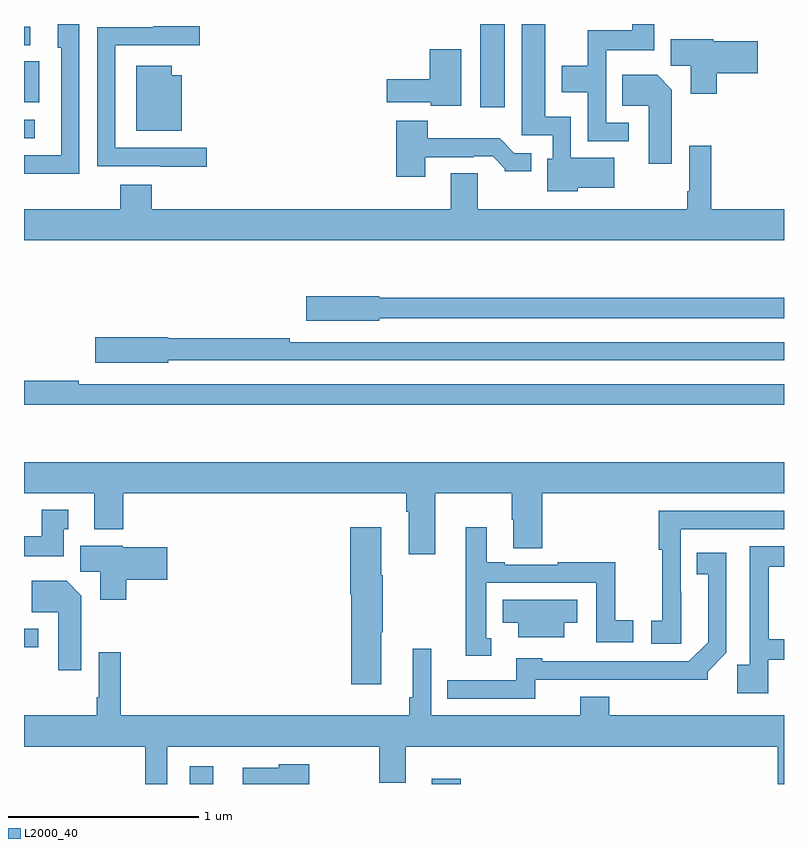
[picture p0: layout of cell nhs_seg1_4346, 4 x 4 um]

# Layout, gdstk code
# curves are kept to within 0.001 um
import gdstk
lib = gdstk.Library(unit=1e-6, precision=1e-09)
def R(c, l, rs):  # rectangles x0, y0, x1, y1
    for r in rs: c.add(gdstk.rectangle(r[:2], r[2:], *l))
def P(c, l, *ps):  # polygons
    for p in ps: c.add(gdstk.Polygon(p, *l))
L2000_40 = (2000, 40)

nhs_seg1_4346 = lib.new_cell('nhs_seg1_4346')
R(nhs_seg1_4346, L2000_40, [(347.873,554.199,347.995,554.293), (349.145,554.199,349.298,554.227), (347,554.919,347.074,555.015), (347,557.598,347.056,557.694), (349.4,557.76,349.531,558.199), (347,557.786,347.08,558.002), (347,558.087,347.032,558.185), (348.959,558.198,349.111,558.199)])
P(nhs_seg1_4346, L2000_40, [(347.292,558.199),(347.177,558.199),(347.177,558.075),(347.196,558.075),(347.196,557.508),(347,557.508),(347,557.411),(347.292,557.411)],
  [(349.914,557.336),(350.107,557.336),(350.107,557.494),(349.878,557.494),(349.878,557.71),(349.744,557.71),(349.744,558.199),(349.619,558.199),(349.619,557.613),(349.782,557.613),(349.782,557.49),(349.754,557.49),(349.754,557.318),(349.914,557.318)],
  [(350.182,557.679),(350.064,557.679),(350.064,558.062),(350.317,558.062),(350.317,558.199),(350.201,558.199),(350.201,558.166),(349.966,558.166),(349.966,557.98),(349.829,557.98),(349.829,557.84),(349.968,557.84),(349.968,557.583),(350.182,557.583)],
  [(347.962,557.547),(347.481,557.547),(347.481,558.087),(347.926,558.087),(347.926,558.187),(347.681,558.187),(347.681,558.183),(347.385,558.183),(347.385,557.451),(347.717,557.451),(347.717,557.447),(347.962,557.447)],
  [(350.645,557.939),(350.863,557.939),(350.863,558.109),(350.628,558.109),(350.628,558.118),(350.405,558.118),(350.405,557.98),(350.51,557.98),(350.51,557.832),(350.645,557.832)],
  [(349.3,558.067),(349.136,558.067),(349.136,557.908),(348.909,557.908),(348.909,557.786),(349.14,557.786),(349.14,557.768),(349.3,557.768)],
  [(347.83,557.929),(347.777,557.929),(347.777,557.98),(347.591,557.98),(347.591,557.636),(347.83,557.636)],
  [(350.41,557.854),(350.332,557.932),(350.149,557.932),(350.149,557.768),(350.288,557.768),(350.288,557.463),(350.41,557.463)],
  [(349.111,557.499),(349.367,557.499),(349.367,557.502),(349.466,557.502),(349.53,557.438),(349.53,557.423),(349.669,557.423),(349.669,557.52),(349.581,557.52),(349.503,557.599),(349.124,557.599),(349.124,557.689),(348.959,557.689),(348.959,557.394),(349.111,557.394)],
  [(351,557.224),(350.618,557.224),(350.618,557.557),(350.502,557.557),(350.502,557.32),(350.49,557.32),(350.49,557.224),(349.387,557.224),(349.387,557.414),(349.247,557.414),(349.247,557.224),(347.672,557.224),(347.672,557.353),(347.507,557.353),(347.507,557.224),(347,557.224),(347,557.06),(351,557.06)],
  [(348.87,556.65),(351,556.65),(351,556.759),(348.87,556.759),(348.87,556.767),(348.486,556.767),(348.486,556.637),(348.87,556.637)],
  [(347.76,556.428),(351,556.428),(351,556.524),(348.398,556.524),(348.398,556.544),(347.76,556.544),(347.76,556.55),(347.376,556.55),(347.376,556.415),(347.76,556.415)],
  [(351,556.302),(347.288,556.302),(347.288,556.322),(347,556.322),(347,556.194),(351,556.194)],
  [(347,555.728),(347.369,555.728),(347.369,555.539),(347.522,555.539),(347.522,555.728),(349.013,555.728),(349.013,555.632),(349.025,555.632),(349.025,555.408),(349.165,555.408),(349.165,555.728),(349.567,555.728),(349.567,555.59),(349.574,555.59),(349.574,555.439),(349.727,555.439),(349.727,555.728),(351,555.728),(351,555.892),(347,555.892)],
  [(347.209,555.54),(347.233,555.54),(347.233,555.643),(347.093,555.643),(347.093,555.502),(347,555.502),(347,555.398),(347.209,555.398)],
  [(350.458,555.212),(350.457,555.212),(350.457,555.54),(351,555.54),(351,555.636),(350.341,555.636),(350.341,555.433),(350.359,555.433),(350.359,555.057),(350.301,555.057),(350.301,554.937),(350.458,554.937)],
  [(348.88,554.998),(348.888,554.998),(348.888,555.298),(348.88,555.298),(348.88,555.55),(348.716,555.55),(348.716,555.198),(348.722,555.198),(348.722,554.724),(348.88,554.724)],
  [(349.459,554.967),(349.434,554.967),(349.434,555.258),(350.013,555.258),(350.013,554.946),(350.206,554.946),(350.206,555.062),(350.112,555.062),(350.112,555.367),(349.81,555.367),(349.81,555.354),(349.531,555.354),(349.531,555.367),(349.435,555.367),(349.435,555.55),(349.325,555.55),(349.325,555.305),(349.326,555.305),(349.326,554.873),(349.459,554.873)],
  [(347.537,555.275),(347.755,555.275),(347.755,555.445),(347.52,555.445),(347.52,555.454),(347.297,555.454),(347.297,555.316),(347.402,555.316),(347.402,555.168),(347.537,555.168)],
  [(350.916,554.853),(351,554.853),(351,554.962),(350.921,554.962),(350.921,555.342),(351,555.342),(351,555.45),(350.82,555.45),(350.82,554.827),(350.755,554.827),(350.755,554.676),(350.916,554.676)],
  [(349.692,554.748),(350.598,554.747),(350.598,554.791),(350.697,554.89),(350.697,555.415),(350.542,555.415),(350.542,555.302),(350.6,555.302),(350.6,554.945),(350.499,554.844),(349.728,554.844),(349.728,554.86),(349.592,554.86),(349.592,554.745),(349.228,554.745),(349.228,554.649),(349.692,554.649)],
  [(347.302,555.19),(347.224,555.268),(347.041,555.268),(347.041,555.104),(347.18,555.104),(347.18,554.799),(347.302,554.799)],
  [(349.843,555.047),(349.912,555.047),(349.912,555.169),(349.519,555.169),(349.519,555.047),(349.601,555.047),(349.601,554.972),(349.843,554.972)],
  [(347.754,554.396),(348.869,554.396),(348.869,554.206),(349.009,554.206),(349.009,554.396),(350.968,554.396),(350.968,554.199),(351,554.199),(351,554.56),(350.081,554.56),(350.081,554.659),(349.928,554.659),(349.928,554.56),(349.143,554.56),(349.143,554.911),(349.046,554.911),(349.046,554.656),(349.027,554.656),(349.027,554.56),(347.51,554.56),(347.51,554.893),(347.394,554.893),(347.394,554.656),(347.382,554.656),(347.382,554.56),(347,554.56),(347,554.396),(347.638,554.396),(347.638,554.199),(347.754,554.199)],
  [(348.502,554.302),(348.342,554.302),(348.342,554.284),(348.15,554.284),(348.15,554.199),(348.502,554.199)])

lib.write_gds('nhs_seg1_4346.gds')
